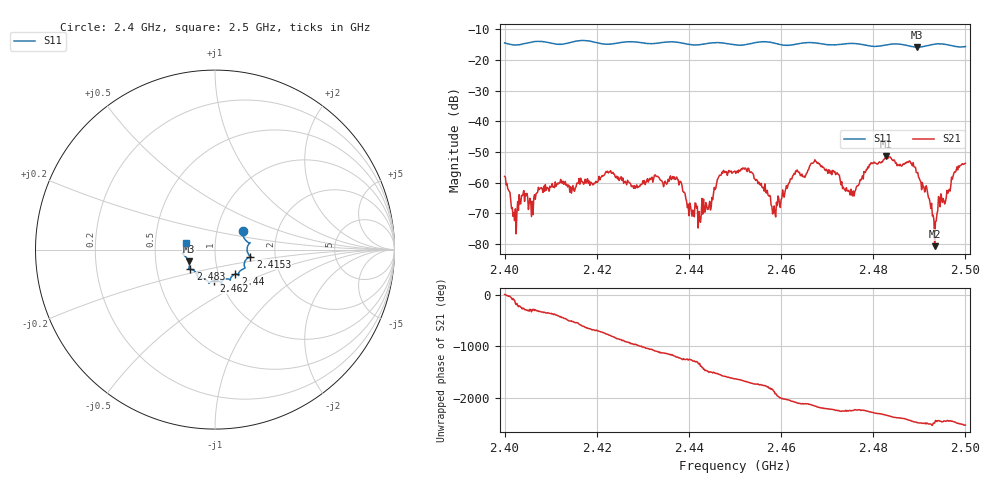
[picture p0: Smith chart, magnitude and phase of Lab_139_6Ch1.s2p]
# Hz S RI R 50
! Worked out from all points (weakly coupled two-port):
!   601 points, 2.4 GHz to 2.5 GHz, reference 50 ohm
!   highest |S21| = -51.48 dB at 2.4828 GHz (marker M1); lowest = -80.7 dB at 2.4933 GHz (marker M2)
!   lowest |S11| = -15.9 dB at 2.4895 GHz (marker M3), VSWR 1.38, Z = 37 - j5.01 ohm
!   |S11| at or under -10 dB: start of sweep to end of sweep
!   S12 and S22 are empty: the file has one direction only
!   S11 on the Smith chart (normalised r, x): 2.4 GHz: 1.33, +0.29; 2.4153 GHz: 1.48, -0.12; 2.44 GHz: 1.20, -0.34; 2.462 GHz: 0.93, -0.33; 2.483 GHz: 0.74, -0.17; 2.5 GHz: 0.72, +0.06
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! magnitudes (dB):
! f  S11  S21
! 2.4 GHz  -14.5  -58.0
! 2.4022 GHz  -15.2  -72.4
! 2.4042 GHz  -14.8  -62.6
! 2.4153 GHz  -14.0  -61.8
! 2.4167 GHz  -13.7  -59.6
! 2.4333 GHz  -14.5  -58.1
! 2.4378 GHz  -14.4  -60.8
! 2.44 GHz  -15.0  -70.8
! 2.4425 GHz  -15.0  -72.9
! 2.447 GHz  -14.5  -57.5
! 2.45 GHz  -15.1  -56.2
! 2.4533 GHz  -14.7  -56.7
! 2.4583 GHz  -14.5  -69.6
! 2.462 GHz  -15.2  -58.8
! 2.4667 GHz  -14.4  -53.7
! 2.4755 GHz  -14.7  -64.3
! 2.4828 GHz  -15.1  -51.5
! 2.483 GHz  -15.1  -51.6
! 2.4833 GHz  -15.0  -51.6
! 2.4895 GHz  -15.9  -56.8
! 2.4933 GHz  -14.9  -80.7
! 2.5 GHz  -15.7  -53.7
